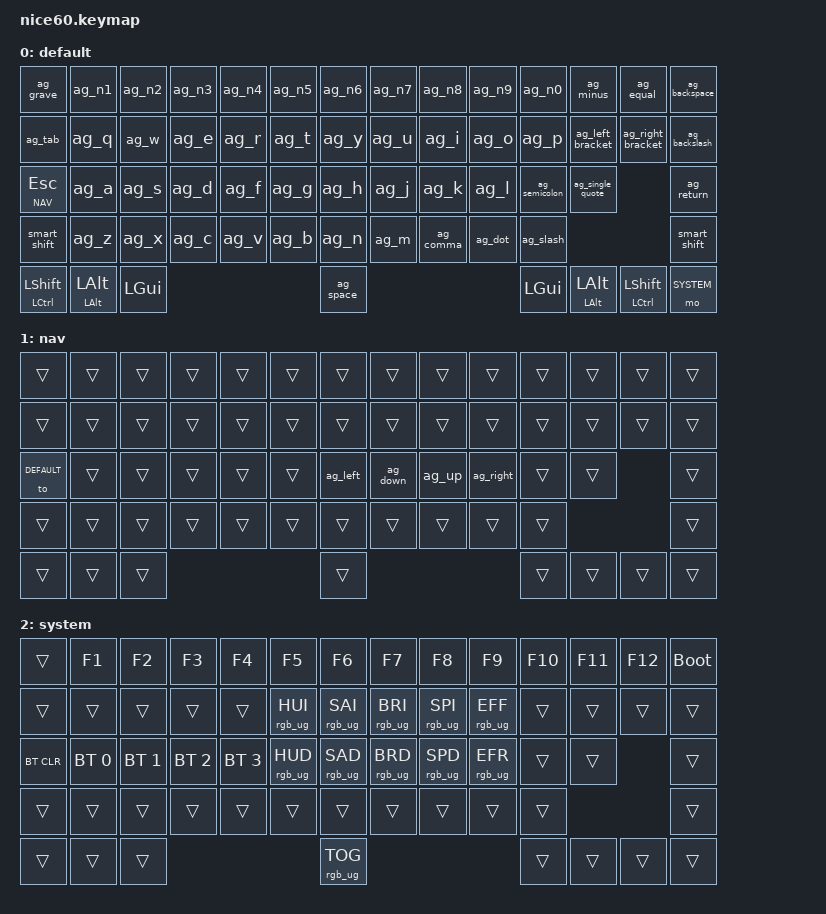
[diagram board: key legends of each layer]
#include "config.dtsi"

// Make sure that there are no other imports, otherwise the config will be overwritten (e.g., behavior reconfigurations)
/ {
  keymap {
    compatible = "zmk,keymap";

    default {
      bindings = <
        &ag_grave                &ag_n1                &ag_n2     &ag_n3   &ag_n4   &ag_n5   &ag_n6      &ag_n7   &ag_n8      &ag_n9    &ag_n0          &ag_minus             &ag_equal                &ag_backspace
        &ag_tab                  &ag_q                 &ag_w      &ag_e    &ag_r    &ag_t    &ag_y       &ag_u    &ag_i       &ag_o     &ag_p           &ag_left_bracket      &ag_right_bracket        &ag_backslash
        &ht_mo_kp NAV ESCAPE     &ag_a                 &ag_s      &ag_d    &ag_f    &ag_g    &ag_h       &ag_j    &ag_k       &ag_l     &ag_semicolon   &ag_single_quote                               &ag_return
        &smart_shift             &ag_z                 &ag_x      &ag_c    &ag_v    &ag_b    &ag_n       &ag_m    &ag_comma   &ag_dot   &ag_slash                                                      &smart_shift
        &ht_kp_sk LCTRL LSHIFT   &ht_kp_sk LALT LALT   &kp LGUI                              &ag_space                                  &kp LGUI        &ht_kp_sk LALT LALT   &ht_kp_sk LCTRL LSHIFT   &mo SYSTEM
      >;
    };
    nav {
      bindings = <
        &trans        &trans   &trans   &trans   &trans   &trans   &trans     &trans     &trans   &trans      &trans   &trans   &trans   &trans
        &trans        &trans   &trans   &trans   &trans   &trans   &trans     &trans     &trans   &trans      &trans   &trans   &trans   &trans
        &to DEFAULT   &trans   &trans   &trans   &trans   &trans   &ag_left   &ag_down   &ag_up   &ag_right   &trans   &trans            &trans
        &trans        &trans   &trans   &trans   &trans   &trans   &trans     &trans     &trans   &trans      &trans                     &trans
        &trans        &trans   &trans                              &trans                                     &trans   &trans   &trans   &trans
      >;
    };
    system {
      bindings = <
        &trans       &kp F1         &kp F2         &kp F3         &kp F4         &kp F5            &kp F6            &kp F7            &kp F8            &kp F9            &kp F10   &kp F11   &kp F12   &bootloader
        &trans       &trans         &trans         &trans         &trans         &rgb_ug RGB_HUI   &rgb_ug RGB_SAI   &rgb_ug RGB_BRI   &rgb_ug RGB_SPI   &rgb_ug RGB_EFF   &trans    &trans    &trans    &trans
        &bt BT_CLR   &bt BT_SEL 0   &bt BT_SEL 1   &bt BT_SEL 2   &bt BT_SEL 3   &rgb_ug RGB_HUD   &rgb_ug RGB_SAD   &rgb_ug RGB_BRD   &rgb_ug RGB_SPD   &rgb_ug RGB_EFR   &trans    &trans              &trans
        &trans       &trans         &trans         &trans         &trans         &trans            &trans            &trans            &trans            &trans            &trans                        &trans
        &trans       &trans         &trans                                                         &rgb_ug RGB_TOG                                                         &trans    &trans    &trans    &trans
      >;
    };
  };
};
